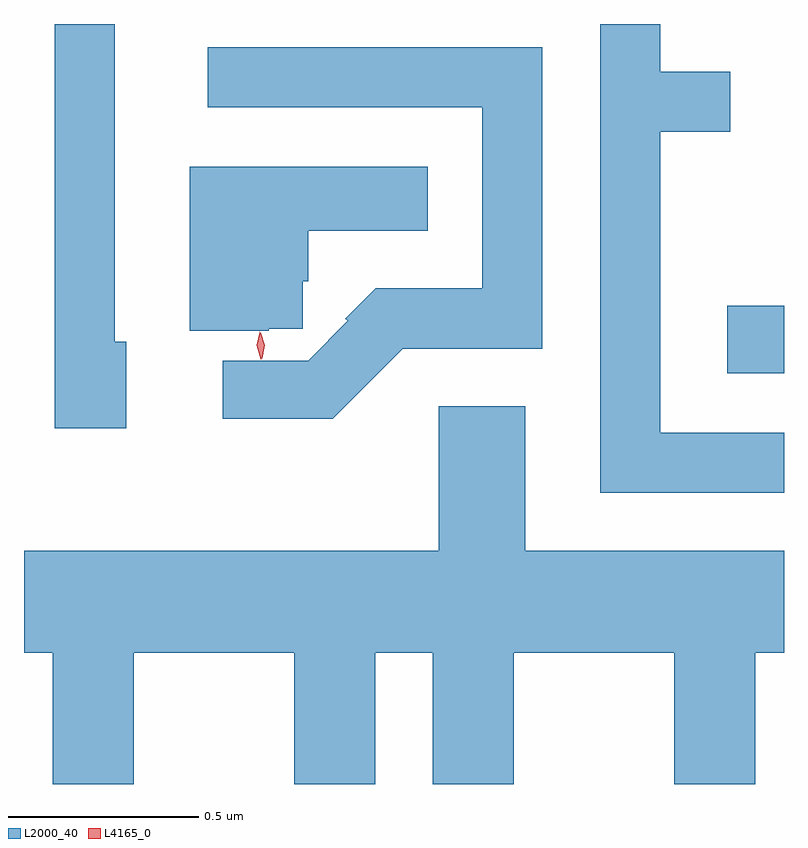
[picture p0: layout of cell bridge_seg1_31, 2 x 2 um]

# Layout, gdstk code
import gdstk
lib = gdstk.Library(unit=1e-6, precision=1e-09)
def R(c, l, rs):  # rectangles x0, y0, x1, y1
    for r in rs: c.add(gdstk.rectangle(r[:2], r[2:], *l))
def P(c, l, *ps):  # polygons
    for p in ps: c.add(gdstk.Polygon(p, *l))
L2000_40 = (2000, 40)
L4165_0 = (4165, 0)

bridge_seg1_31 = lib.new_cell('bridge_seg1_31')
R(bridge_seg1_31, L2000_40, [(1483.591,864.791,1483.74,864.969)])
P(bridge_seg1_31, L2000_40, [(1482.009,864.874),(1481.979,864.874),(1481.979,865.71),(1481.821,865.71),(1481.821,864.646),(1482.009,864.646)],
  [(1483.74,864.634),(1483.414,864.634),(1483.414,865.426),(1483.598,865.426),(1483.598,865.584),(1483.414,865.584),(1483.414,865.71),(1483.256,865.71),(1483.256,864.476),(1483.74,864.476)],
  [(1482.737,864.856),(1483.104,864.856),(1483.104,865.649),(1482.223,865.649),(1482.223,865.491),(1482.946,865.491),(1482.946,865.014),(1482.665,865.014),(1482.586,864.935),(1482.592,864.929),(1482.488,864.824),(1482.263,864.824),(1482.263,864.671),(1482.552,864.671)],
  [(1482.384,864.908),(1482.474,864.908),(1482.474,865.033),(1482.488,865.033),(1482.488,865.166),(1482.803,865.166),(1482.803,865.334),(1482.176,865.334),(1482.176,864.903),(1482.384,864.903)],
  [(1482.029,864.056),(1482.451,864.056),(1482.451,863.71),(1482.664,863.71),(1482.664,864.056),(1482.816,864.056),(1482.816,863.71),(1483.029,863.71),(1483.029,864.056),(1483.451,864.056),(1483.451,863.71),(1483.664,863.71),(1483.664,864.056),(1483.74,864.056),(1483.74,864.324),(1483.059,864.324),(1483.059,864.704),(1482.831,864.704),(1482.831,864.324),(1481.74,864.324),(1481.74,864.056),(1481.816,864.056),(1481.816,863.71),(1482.029,863.71)])
P(bridge_seg1_31, L4165_0, [(1482.366,864.83),(1482.366,864.831),(1482.355,864.864),(1482.362,864.897),(1482.363,864.898),(1482.363,864.897),(1482.374,864.864),(1482.367,864.831)],
  [(1482.363,864.828),(1482.352,864.864),(1482.36,864.899),(1482.36,864.9),(1482.361,864.899),(1482.372,864.864),(1482.364,864.828),(1482.364,864.828)])

lib.write_gds('bridge_seg1_31.gds')
